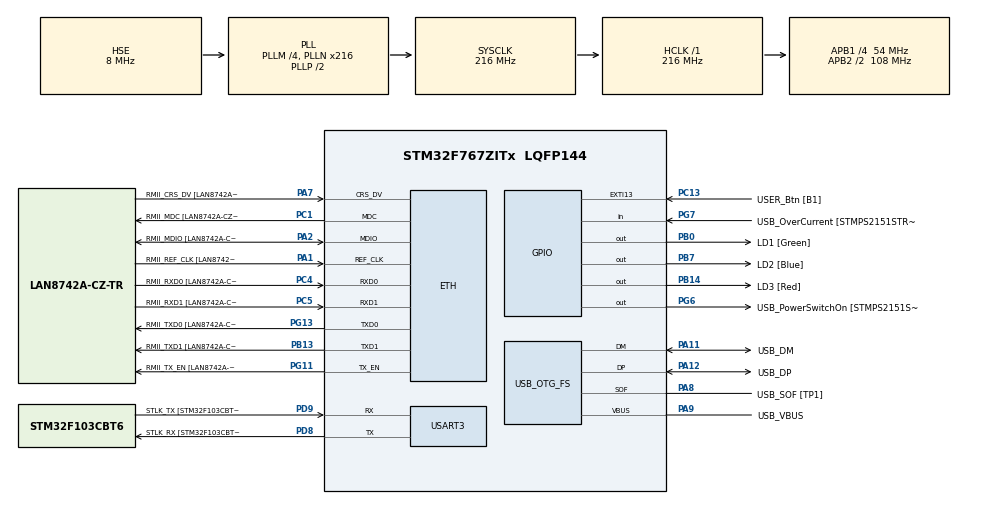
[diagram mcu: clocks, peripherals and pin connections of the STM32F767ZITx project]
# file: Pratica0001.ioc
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CORTEX_M7.default_mode_Activation=1
ETH.MediaInterface=HAL_ETH_RMII_MODE
ETH.PHY_Name=LAN8742A_PHY_ADDRESS
ETH.PHY_Value=0
ETH.PhyAddress=0
Mcu.Family=STM32F7
Mcu.Name=STM32F767ZITx
Mcu.Package=LQFP144
NVIC.PriorityGroup=NVIC_PRIORITYGROUP_4
PA1.GPIO_Label=RMII_REF_CLK [LAN8742A-CZ-TR_REFCLK0]
PA1.Mode=RMII
PA1.Signal=ETH_REF_CLK
PA10.GPIO_Label=USB_ID
PA10.Signal=USB_OTG_FS_ID
PA11.GPIO_Label=USB_DM
PA11.Mode=Device_Only
PA11.Signal=USB_OTG_FS_DM
PA12.GPIO_Label=USB_DP
PA12.Mode=Device_Only
PA12.Signal=USB_OTG_FS_DP
PA13.GPIO_Label=TMS
PA13.Mode=Serial_Wire
PA13.Signal=SYS_JTMS-SWDIO
PA14.GPIO_Label=TCK
PA14.Mode=Serial_Wire
PA14.Signal=SYS_JTCK-SWCLK
PA2.GPIO_Label=RMII_MDIO [LAN8742A-CZ-TR_MDIO]
PA2.Mode=RMII
PA2.Signal=ETH_MDIO
PA7.GPIO_Label=RMII_CRS_DV [LAN8742A-CZ-TR_CRS_DV]
PA7.Mode=RMII
PA7.Signal=ETH_CRS_DV
PA8.GPIO_Label=USB_SOF [TP1]
PA8.Mode=Activate_SOF_FS
PA8.Signal=USB_OTG_FS_SOF
PA9.GPIO_Label=USB_VBUS
PA9.Mode=Activate_VBUS
PA9.Signal=USB_OTG_FS_VBUS
PB0.GPIO_Label=LD1 [Green]
PB0.Signal=GPIO_Output
PB13.GPIO_Label=RMII_TXD1 [LAN8742A-CZ-TR_TXD1]
PB13.Mode=RMII
PB13.Signal=ETH_TXD1
PB14.GPIO_Label=LD3 [Red]
PB14.Signal=GPIO_Output
PB3.GPIO_Label=SWO
PB3.Signal=SYS_JTDO-SWO
PB7.GPIO_Label=LD2 [Blue]
PB7.Signal=GPIO_Output
PC1.GPIO_Label=RMII_MDC [LAN8742A-CZ-TR_MDC]
PC1.Mode=RMII
PC1.Signal=ETH_MDC
PC13.GPIO_Label=USER_Btn [B1]
PC13.Signal=GPXTI13
PC14/OSC32_IN.Mode=LSE-External-Oscillator
PC14/OSC32_IN.Signal=RCC_OSC32_IN
PC15/OSC32_OUT.Mode=LSE-External-Oscillator
PC15/OSC32_OUT.Signal=RCC_OSC32_OUT
PC4.GPIO_Label=RMII_RXD0 [LAN8742A-CZ-TR_RXD0]
PC4.Mode=RMII
PC4.Signal=ETH_RXD0
PC5.GPIO_Label=RMII_RXD1 [LAN8742A-CZ-TR_RXD1]
PC5.Mode=RMII
PC5.Signal=ETH_RXD1
PD8.GPIO_Label=STLK_RX [STM32F103CBT6_PA3]
PD8.Mode=Asynchronous
PD8.Signal=USART3_TX
PD9.GPIO_Label=STLK_TX [STM32F103CBT6_PA2]
PD9.Mode=Asynchronous
PD9.Signal=USART3_RX
PG11.GPIO_Label=RMII_TX_EN [LAN8742A-CZ-TR_TXEN]
PG11.Mode=RMII
PG11.Signal=ETH_TX_EN
PG13.GPIO_Label=RMII_TXD0 [LAN8742A-CZ-TR_TXD0]
PG13.Mode=RMII
PG13.Signal=ETH_TXD0
PG6.GPIO_Label=USB_PowerSwitchOn [STMPS2151STR_EN]
PG6.Signal=GPIO_Output
PG7.GPIO_Label=USB_OverCurrent [STMPS2151STR_FAULT]
PG7.Signal=GPIO_Input
PH0/OSC_IN.GPIO_Label=MCO [STM32F103CBT6_PA8]
PH0/OSC_IN.Mode=HSE-External-Clock-Source
PH0/OSC_IN.Signal=RCC_OSC_IN
PH1/OSC_OUT.Mode=HSE-External-Clock-Source
PH1/OSC_OUT.Signal=RCC_OSC_OUT
ProjectManager.HeapSize=0x200
ProjectManager.StackSize=0x400
ProjectManager.TargetToolchain=STM32CubeIDE
RCC.48MHZClocksFreq_Value=24000000
RCC.AHBFreq_Value=216000000
RCC.APB1CLKDivider=RCC_HCLK_DIV4
RCC.APB1Freq_Value=54000000
RCC.APB1TimFreq_Value=108000000
RCC.APB2CLKDivider=RCC_HCLK_DIV2
RCC.APB2Freq_Value=108000000
RCC.APB2TimFreq_Value=216000000
RCC.CortexFreq_Value=216000000
RCC.HCLKFreq_Value=216000000
RCC.HSE_VALUE=8000000
RCC.HSI_VALUE=16000000
RCC.PLLM=4
RCC.PLLMUL=RCC_PLL_MUL9
RCC.PLLN=216
RCC.PLLQ=9
RCC.PRESCALERUSB=RCC_USBCLKSOURCE_PLL_DIV1_5
RCC.SYSCLKFreq_VALUE=216000000
RCC.SYSCLKSource=RCC_SYSCLKSOURCE_PLLCLK
RCC.SYSCLKSourceVirtual=RCC_SYSCLKSOURCE_PLLCLK
RCC.USBFreq_Value=48000000
RCC.VCOOutputFreq_Value=432000000
USART3.VirtualMode-Asynchronous=VM_ASYNC
USB_OTG_FS.VirtualMode=Device_Only
board=NUCLEO-F767ZI

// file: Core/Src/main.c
/* USER CODE BEGIN Header */
/**
  ******************************************************************************
  * @file           : main.c
  * @brief          : Main program body
  ******************************************************************************
  * @attention
  *
  * Copyright (c) 2026 STMicroelectronics.
  * All rights reserved.
  *
  * This software is licensed under terms that can be found in the LICENSE file
  * in the root directory of this software component.
  * If no LICENSE file comes with this software, it is provided AS-IS.
  *
  ******************************************************************************
  */
/* USER CODE END Header */
#include "main.h"
#include "eth.h"
#include "usart.h"
#include "usb_otg.h"
#include "gpio.h"
#include "Bsp.h"
#include "PainelLed.h"

void SystemClock_Config(void);
static void MPU_Config(void);

int main(void)
{

  /* MPU Configuration--------------------------------------------------------*/
  MPU_Config();

  /* MCU Configuration--------------------------------------------------------*/

  /* Reset of all peripherals, Initializes the Flash interface and the Systick. */
  HAL_Init();

  /* Configure the system clock */
  SystemClock_Config();

  /* Initialize all configured peripherals */
  MX_GPIO_Init();
  MX_ETH_Init();
  MX_USART3_UART_Init();
  MX_USB_OTG_FS_PCD_Init();

  /* Infinite loop */
  /* USER CODE BEGIN WHILE */
  int b1 = 0;;
  int mode = 1;
  while (1)
  {
	  b1 = HAL_GPIO_ReadPin(USER_Btn_GPIO_Port, USER_Btn_Pin);
	  if (b1){
	  		  mode ++;
	  	  }
	  if(mode == 1){
		  HAL_GPIO_TogglePin(LD1_GPIO_Port, LD1_Pin);
		  HAL_Delay(500);
	  }
	  if(mode == 2){
		  HAL_Delay(150);
		  HAL_GPIO_WritePin(LD1_GPIO_Port, LD1_Pin, GPIO_PIN_SET);
		  HAL_Delay(500);
		  HAL_GPIO_WritePin(LD1_GPIO_Port, LD1_Pin, GPIO_PIN_RESET);
		  HAL_Delay(500);
		  HAL_GPIO_WritePin(LD2_GPIO_Port, LD2_Pin, GPIO_PIN_SET);
		  HAL_Delay(500);
		  HAL_GPIO_WritePin(LD2_GPIO_Port, LD2_Pin, GPIO_PIN_RESET);
		  HAL_Delay(500);
		  HAL_GPIO_WritePin(LD3_GPIO_Port, LD3_Pin, GPIO_PIN_SET);
		  HAL_Delay(500);
		  HAL_GPIO_WritePin(LD3_GPIO_Port, LD3_Pin, GPIO_PIN_RESET);
	  }
	  if (mode == 3){
		  HAL_GPIO_WritePin(LD1_GPIO_Port, LD1_Pin, GPIO_PIN_SET);
		  HAL_GPIO_WritePin(LD2_GPIO_Port, LD2_Pin, GPIO_PIN_SET);
		  HAL_GPIO_WritePin(LD3_GPIO_Port, LD3_Pin, GPIO_PIN_SET);
		  HAL_Delay(250);
		  HAL_GPIO_TogglePin(LD1_GPIO_Port, LD1_Pin);
		  HAL_GPIO_TogglePin(LD2_GPIO_Port, LD2_Pin);
		  HAL_GPIO_TogglePin(LD3_GPIO_Port, LD3_Pin);
		  HAL_Delay(250);
	  }
    /* USER CODE END WHILE */

  }
}

void SystemClock_Config(void)
{
  RCC_OscInitTypeDef RCC_OscInitStruct = {0};
  RCC_ClkInitTypeDef RCC_ClkInitStruct = {0};

  /** Configure LSE Drive Capability
  */
  HAL_PWR_EnableBkUpAccess();

  /** Configure the main internal regulator output voltage
  */
  __HAL_RCC_PWR_CLK_ENABLE();
  __HAL_PWR_VOLTAGESCALING_CONFIG(PWR_REGULATOR_VOLTAGE_SCALE1);

  /** Initializes the RCC Oscillators according to the specified parameters
  * in the RCC_OscInitTypeDef structure.
  */
  RCC_OscInitStruct.OscillatorType = RCC_OSCILLATORTYPE_HSE;
  RCC_OscInitStruct.HSEState = RCC_HSE_BYPASS;
  RCC_OscInitStruct.PLL.PLLState = RCC_PLL_ON;
  RCC_OscInitStruct.PLL.PLLSource = RCC_PLLSOURCE_HSE;
  RCC_OscInitStruct.PLL.PLLM = 4;
  RCC_OscInitStruct.PLL.PLLN = 216;
  RCC_OscInitStruct.PLL.PLLP = RCC_PLLP_DIV2;
  RCC_OscInitStruct.PLL.PLLQ = 9;
  RCC_OscInitStruct.PLL.PLLR = 2;
  if (HAL_RCC_OscConfig(&RCC_OscInitStruct) != HAL_OK)
  {
    Error_Handler();
  }

  /** Activate the Over-Drive mode
  */
  if (HAL_PWREx_EnableOverDrive() != HAL_OK)
  {
    Error_Handler();
  }

  /** Initializes the CPU, AHB and APB buses clocks
  */
  RCC_ClkInitStruct.ClockType = RCC_CLOCKTYPE_HCLK|RCC_CLOCKTYPE_SYSCLK
                              |RCC_CLOCKTYPE_PCLK1|RCC_CLOCKTYPE_PCLK2;
  RCC_ClkInitStruct.SYSCLKSource = RCC_SYSCLKSOURCE_PLLCLK;
  RCC_ClkInitStruct.AHBCLKDivider = RCC_SYSCLK_DIV1;
  RCC_ClkInitStruct.APB1CLKDivider = RCC_HCLK_DIV4;
  RCC_ClkInitStruct.APB2CLKDivider = RCC_HCLK_DIV2;

  if (HAL_RCC_ClockConfig(&RCC_ClkInitStruct, FLASH_LATENCY_7) != HAL_OK)
  {
    Error_Handler();
  }
}

 /* MPU Configuration */

void MPU_Config(void)
{
  MPU_Region_InitTypeDef MPU_InitStruct = {0};

  /* Disables the MPU */
  HAL_MPU_Disable();

  /** Initializes and configures the Region and the memory to be protected
  */
  MPU_InitStruct.Enable = MPU_REGION_ENABLE;
  MPU_InitStruct.Number = MPU_REGION_NUMBER0;
  MPU_InitStruct.BaseAddress = 0x0;
  MPU_InitStruct.Size = MPU_REGION_SIZE_4GB;
  MPU_InitStruct.SubRegionDisable = 0x87;
  MPU_InitStruct.TypeExtField = MPU_TEX_LEVEL0;
  MPU_InitStruct.AccessPermission = MPU_REGION_NO_ACCESS;
  MPU_InitStruct.DisableExec = MPU_INSTRUCTION_ACCESS_DISABLE;
  MPU_InitStruct.IsShareable = MPU_ACCESS_SHAREABLE;
  MPU_InitStruct.IsCacheable = MPU_ACCESS_NOT_CACHEABLE;
  MPU_InitStruct.IsBufferable = MPU_ACCESS_NOT_BUFFERABLE;

  HAL_MPU_ConfigRegion(&MPU_InitStruct);
  /* Enables the MPU */
  HAL_MPU_Enable(MPU_PRIVILEGED_DEFAULT);

}

void Error_Handler(void)
{
  __disable_irq();
  while (1)
  {
  }
}
